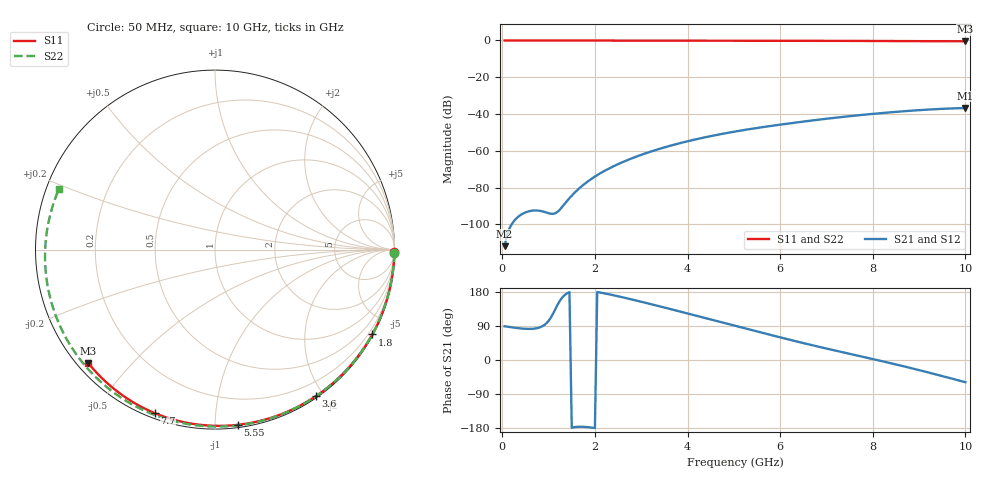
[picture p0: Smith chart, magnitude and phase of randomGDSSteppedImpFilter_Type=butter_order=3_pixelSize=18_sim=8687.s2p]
! freq	dB(S11)	phase(S11)	dB(S12)	phase(S12)
!  dB(S21)	phase(S21)	dB(S22)	phase(S22)
!S-par simulation data
#  GHz  S  DB  R 50
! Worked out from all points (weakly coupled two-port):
!   200 points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, 50 MHz to 10 GHz, reference 50 ohm
!   highest |S21| = -36.75 dB at 10 GHz (marker M1); lowest = -111.8 dB at 50 MHz (marker M2)
!   lowest |S11| = -0.5 dB at 10 GHz (marker M3), VSWR 37.23, Z = 1.54 - j19.1 ohm
!   |S11| at or under -10 dB: nowhere
!   |S22| runs from -0.6 to 0.0 dB; largest |S21 - S12| = 0
!   S11 on the Smith chart (normalised r, x): 50 MHz: open; 1.8 GHz: 0.04, -3.96; 3.6 GHz: 0.02, -1.91; 5.55 GHz: 0.02, -1.14; 7.7 GHz: 0.02, -0.70; 10 GHz: 0.03, -0.38
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0.05  -0.00 -0.8  -111.83 89.0  -111.83 89.0  -0.00 -1.2
0.45  -0.01 -7.2  -94.06 82.7  -94.06 82.7  -0.02 -10.7
0.85  -0.02 -13.5  -92.81 88.1  -92.81 88.1  -0.03 -20.1
1.65  -0.03 -26.0  -80.64 -176.1  -80.64 -176.1  -0.05 -38.6
1.7  -0.03 -26.8  -79.54 -176.1  -79.54 -176.1  -0.05 -39.7
1.75  -0.04 -27.6  -78.50 -176.3  -78.50 -176.3  -0.05 -40.9
1.8  -0.04 -28.3  -77.51 -176.6  -77.51 -176.6  -0.05 -42.0
2.1  -0.04 -32.9  -72.44 178.3  -72.44 178.3  -0.06 -48.7
2.5  -0.05 -39.0  -67.23 168.2  -67.23 168.2  -0.07 -57.5
2.9  -0.06 -45.0  -63.09 156.7  -63.09 156.7  -0.09 -66.1
3.4  -0.07 -52.4  -58.88 141.6  -58.88 141.6  -0.10 -76.6
3.6  -0.07 -55.4  -57.42 135.4  -57.42 135.4  -0.11 -80.8
4.3  -0.09 -65.4  -53.07 113.3  -53.07 113.3  -0.13 -94.8
5.05  -0.12 -75.8  -49.41 89.6  -49.41 89.6  -0.17 -109.3
5.55  -0.14 -82.6  -47.39 73.8  -47.39 73.8  -0.19 -118.7
6.15  -0.16 -90.5  -45.26 55.2  -45.26 55.2  -0.23 -129.7
6.7  -0.19 -97.7  -43.47 38.7  -43.47 38.7  -0.27 -139.7
7.2  -0.22 -104.0  -41.98 24.6  -41.98 24.6  -0.31 -148.7
7.7  -0.26 -110.3  -40.64 10.8  -40.64 10.8  -0.35 -157.7
8.35  -0.31 -118.2  -39.13 -7.4  -39.13 -7.4  -0.42 -169.6
9.2  -0.39 -128.5  -37.57 -32.9  -37.57 -32.9  -0.51 174.5
10  -0.47 -138.2  -36.75 -58.6  -36.75 -58.6  -0.60 158.8
